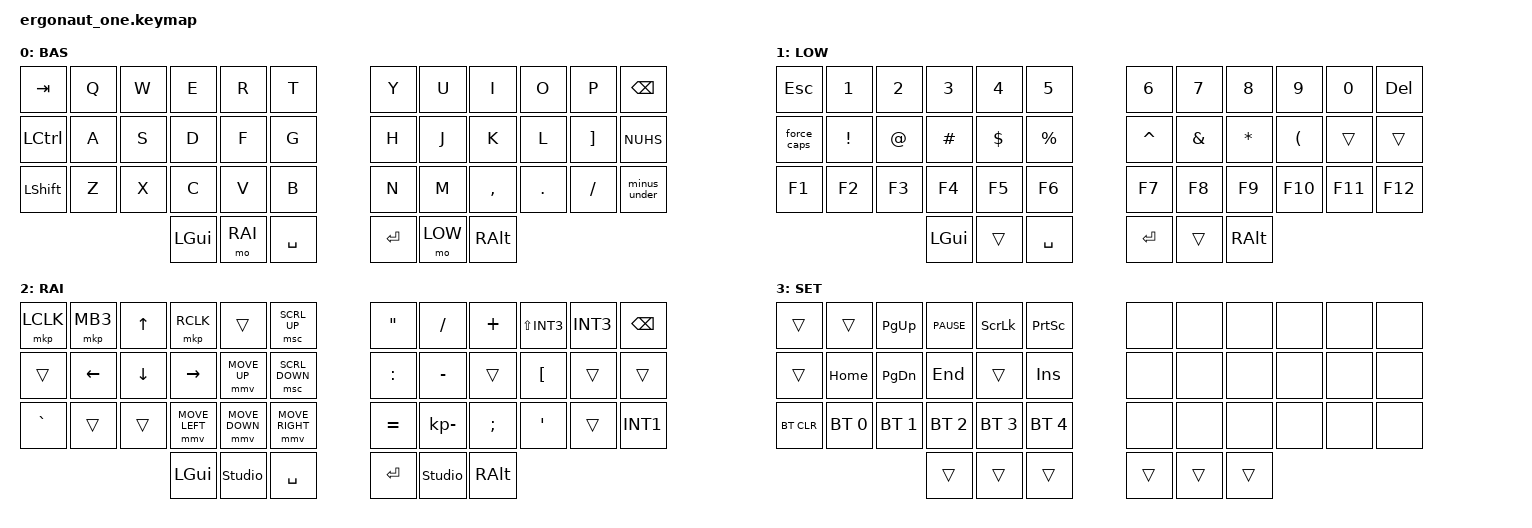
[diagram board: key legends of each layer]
#include <behaviors.dtsi>
#include <dt-bindings/zmk/keys.h>
#include <dt-bindings/zmk/bt.h>
#include <dt-bindings/zmk/pointing.h> // マウス操作用
#include <dt-bindings/zmk/ext_power.h>
#include <dt-bindings/zmk/outputs.h>

// レイヤー番号の定義
#define BAS 0
#define LOW 1
#define RAI 2
#define SET 3

&lt {
    quick-tap-ms = <200>;
};

&mt {
    quick-tap-ms = <200>;
};

/ {
    /* --- 独自の挙動（Mod-Morph）の定義 --- */
    behaviors {
        // Shift + _ で「_」を入力、単打で「-」 (JIS配列想定)
        minus_under: minus_under {
            compatible = "zmk,behavior-mod-morph";
            #binding-cells = <0>;
            bindings = <&kp MINUS>, <&kp LS(INTERNATIONAL_1)>;
            mods = <(MOD_LSFT|MOD_RSFT)>;
        };

        // Shift + CapsLock で CapsLock有効化、単打で Shift+CapsLock
        force_caps: force_caps {
            compatible = "zmk,behavior-mod-morph";
            #binding-cells = <0>;
            bindings = <&kp LS(CLCK)>, <&kp CLCK>;
            mods = <(MOD_LSFT|MOD_RSFT)>;
        };
    };

    conditional_layers {
        compatible = "zmk,conditional-layers";

        // LOW(1) と RAI(2) 同時押しで SET(3) レイヤーへ
        tri-layer {
            if-layers = <LOW RAI>;
            then-layer = <SET>;
        };
    };

    keymap {
        compatible = "zmk,keymap";

        /* Default Layer (BAS) */
        default_layer {
            display-name = "BAS";
            bindings = <
                &kp TAB    &kp Q  &kp W  &kp E     &kp R  &kp T        &kp Y  &kp U  &kp I      &kp O    &kp P              &kp BSPC
                &kp LCTRL  &kp A  &kp S  &kp D     &kp F  &kp G        &kp H  &kp J  &kp K      &kp L    &kp RBKT           &kp NUHS
                &kp LSHFT  &kp Z  &kp X  &kp C     &kp V  &kp B        &kp N  &kp M  &kp COMMA  &kp DOT  &kp FSLH           &minus_under
                                         &kp LGUI  &mo RAI  &kp SPACE  &kp RET  &mo LOW  &kp RALT
            >;
        };

        /* Lower Layer (LOW): Numbers, F-keys */
        lower_layer {
            display-name = "LOW";
            bindings = <
                &kp ESC      &kp N1    &kp N2    &kp N3    &kp N4     &kp N5       &kp N6     &kp N7     &kp N8    &kp N9    &kp N0    &kp DEL
                &force_caps  &kp EXCL  &kp AT    &kp HASH  &kp DLLR   &kp PRCNT    &kp CARET  &kp AMPS   &kp STAR  &kp LPAR  &trans    &trans
                &kp F1       &kp F2    &kp F3    &kp F4    &kp F5     &kp F6       &kp F7     &kp F8     &kp F9    &kp F10   &kp F11   &kp F12
                                                 &kp LGUI  &trans     &kp SPACE    &kp RET    &trans     &kp RALT
            >;
        };

        /* Raise Layer (RAI): Mouse, Symbols, Arrows */
        raise_layer {
            display-name = "RAI";
            bindings = <
                &mkp LCLK  &mkp MB3  &kp UP    &mkp RCLK       &trans          &msc SCRL_UP      &kp DQT    &kp FSLH   &kp PLUS   &kp LS(INT3)  &kp INT3        &kp BSPC
                &trans     &kp LEFT  &kp DOWN  &kp RIGHT       &mmv MOVE_UP    &msc SCRL_DOWN    &kp COLON  &kp MINUS  &trans     &kp LBKT      &trans          &trans
                &kp GRAVE  &trans    &trans    &mmv MOVE_LEFT  &mmv MOVE_DOWN  &mmv MOVE_RIGHT   &kp EQUAL  &kp KP_MINUS &kp SEMI &kp SQT       &trans          &kp INT1
                                               &kp LGUI        &studio_unlock  &kp SPACE         &kp RET    &studio_unlock &kp RALT
            >;
        };

        /* Setting Layer (SET): BT (LED controls removed) */
        setting_layer {
            display-name = "SET";
            bindings = <
                &trans      &trans        &kp PG_UP     &kp C_PAUSE   &kp SLCK      &kp PSCRN      &none      &none      &none      &none      &none      &none
                &trans      &kp HOME      &kp PG_DN     &kp END       &trans        &kp INS        &none      &none      &none      &none      &none      &none
                &bt BT_CLR  &bt BT_SEL 0  &bt BT_SEL 1  &bt BT_SEL 2  &bt BT_SEL 3  &bt BT_SEL 4   &none      &none      &none      &none      &none      &none
                                                        &trans        &trans        &trans         &trans     &trans     &trans
            >;
        };
    };
};
